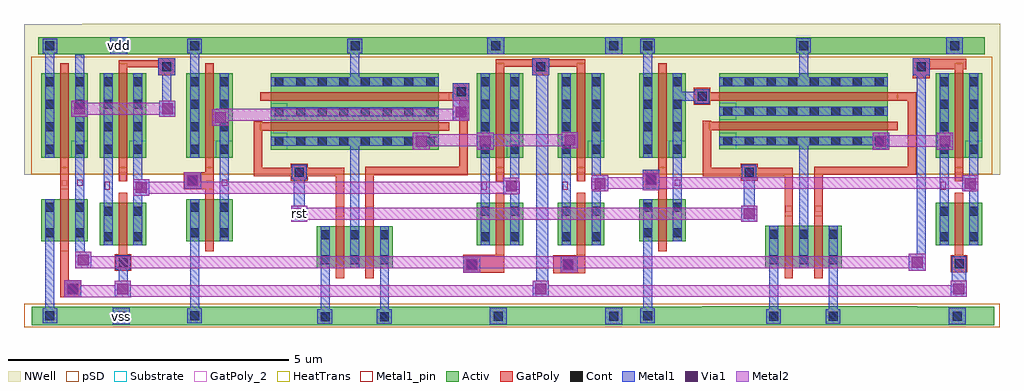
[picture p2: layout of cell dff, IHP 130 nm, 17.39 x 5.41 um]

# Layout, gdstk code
from math import pi, radians
import gdstk
lib = gdstk.Library(unit=1e-6, precision=5e-09)
def R(c, l, rs):  # rectangles x0, y0, x1, y1
    for r in rs: c.add(gdstk.rectangle(r[:2], r[2:], *l))
def A(c, l, x, y, w, h, nx, ny, dx, dy):  # array of equal rectangles
    R(c, l, [(x+i*dx, y+j*dy, x+i*dx+w, y+j*dy+h) for i in range(nx) for j in range(ny)])
def P(c, l, *ps):  # polygons
    for p in ps: c.add(gdstk.Polygon(p, *l))
Activ = (1, 0)
GatPoly = (5, 0)
GatPoly_2 = (5, 2)
Cont = (6, 0)
Metal1 = (8, 0)
Metal1_pin = (8, 2)
Metal2 = (10, 0)
pSD = (14, 0)
Via1 = (19, 0)
NWell = (31, 0)
Substrate = (40, 0)
HeatTrans = (51, 0)

nmos_5_2 = lib.new_cell('nmos$5$2')
R(nmos_5_2, Activ, [(0,0,0.3,0.3), (0,0,0.83,0.75), (0.53,0,0.83,0.3)])
R(nmos_5_2, GatPoly, [(0.34,-0.18,0.49,0.93)])
R(nmos_5_2, GatPoly_2, [(0.34,-0.18,0.49,0.93)])
R(nmos_5_2, Cont, [(0.07,0.07,0.23,0.23), (0.6,0.07,0.76,0.23), (0.07,0.52,0.23,0.68), (0.6,0.52,0.76,0.68)])
R(nmos_5_2, Metal1, [(0.07,0,0.23,0.75), (0.6,0,0.76,0.75)])
R(nmos_5_2, Metal1_pin, [(0.07,0,0.23,0.75), (0.6,0,0.76,0.75)])
R(nmos_5_2, HeatTrans, [(0.34,-0.18,0.49,0.93)])
nmos_5_2.add(gdstk.Label('nmos', (0.415,0.375), layer=63, texttype=0))
nmos_5_2.add(gdstk.Label('nmos', (0.415,0.375), layer=51, texttype=0))

pmos_5_1 = lib.new_cell('pmos$5$1')
R(pmos_5_1, Activ, [(0,0,0.3,0.3), (0,0,0.83,3), (0.53,0,0.83,0.3)])
R(pmos_5_1, GatPoly, [(0.34,-0.18,0.49,3.18), (0.34,-0.18,0.49,3.18)])
A(pmos_5_1, Cont, 0.07, 0.07, 0.16, 0.16, 1, 7, 0, 0.385)
A(pmos_5_1, Cont, 0.6, 0.07, 0.16, 0.16, 1, 7, 0, 0.385)
R(pmos_5_1, Cont, [(0.07,2.77,0.23,2.93), (0.6,2.77,0.76,2.93)])
R(pmos_5_1, Metal1, [(0.07,0,0.23,3), (0.07,0,0.23,3), (0.6,0,0.76,3), (0.6,0,0.76,3)])
R(pmos_5_1, pSD, [(-0.18,-0.3,1.01,3.3)])
R(pmos_5_1, NWell, [(-0.31,-0.31,1.14,3.31)])
R(pmos_5_1, Substrate, [(0.53,0,0.83,0.3)])
R(pmos_5_1, HeatTrans, [(0.34,-0.18,0.49,3.18)])
pmos_5_1.add(gdstk.Label('pmos', (0.415,1.5), layer=63, texttype=0))
pmos_5_1.add(gdstk.Label('pmos', (0.415,1.5), layer=51, texttype=0))

norgate_1 = lib.new_cell('norgate$1')
R(norgate_1, Activ, [(-1.48,-2.5,2.355,-2.17), (-1.47,2.325,2.355,2.625)])
R(norgate_1, GatPoly, [(-0.01,-0.56,0.14,0.15), (0.52,-0.56,0.67,0.17), (-1.47,0.15,0.14,0.3), (0.52,0.17,2.19,0.32), (2.19,0.17,2.34,1.645), (-1.47,0.3,-1.32,1.135), (-1.47,0.965,-1.35,1.135), (2.01,1.495,2.19,1.645)])
R(norgate_1, GatPoly_2, [(0.005,-0.49,0.13,-0.38), (0.535,-0.49,0.66,-0.38)])
R(norgate_1, Cont, [(-0.28,-2.43,-0.12,-2.27), (-0.28,-2.43,-0.12,-2.27), (0.78,-2.43,0.94,-2.27), (0.78,-2.43,0.94,-2.27), (0.255,2.395,0.415,2.555)])
R(norgate_1, Metal1, [(-0.335,-2.48,-0.075,-2.22), (0.725,-2.48,0.985,-2.22), (-0.28,-2.43,-0.12,-0.74), (0.78,-2.43,0.94,-0.74), (0.25,-0.74,0.41,0.695), (0.25,1.915,0.41,2.345), (0.2,2.345,0.46,2.605)])
R(norgate_1, Metal1_pin, [(-0.25,-2.39,-0.17,-2.3), (0.81,-2.39,0.89,-2.3), (0.255,2.395,0.415,2.555)])
R(norgate_1, pSD, [(-1.48,-2.54,2.355,-2.125)])
R(norgate_1, NWell, [(-1.47,0.315,2.355,2.865), (-1.47,2.295,2.355,2.865)])
norgate_1.add(gdstk.Reference(nmos_5_2, (1.01,-0.74), rotation=pi))
norgate_1.add(gdstk.Reference(nmos_5_2, (-0.35,-1.49)))
norgate_1.add(gdstk.Reference(pmos_5_1, (-1.17,1.985), rotation=3*pi/2))
norgate_1.add(gdstk.Reference(pmos_5_1, (-1.17,1.455), rotation=3*pi/2))
norgate_1.add(gdstk.Label('vdd', (0.325,2.5), layer=8, texttype=2))
norgate_1.add(gdstk.Label('vss', (-0.22,-2.335), layer=8, texttype=2))
norgate_1.add(gdstk.Label('vss', (0.84,-2.335), layer=8, texttype=2))
norgate_1.add(gdstk.Label('b', (0.07,-0.44), layer=5, texttype=2))
norgate_1.add(gdstk.Label('a', (0.6,-0.44), layer=5, texttype=2))

nmos_1_2 = lib.new_cell('nmos$1$2')
R(nmos_1_2, Activ, [(0,0,0.3,0.3), (0,0,0.83,0.75), (0.53,0,0.83,0.3)])
R(nmos_1_2, GatPoly, [(0.34,-0.18,0.49,0.93)])
R(nmos_1_2, GatPoly_2, [(0.34,-0.18,0.49,0.93)])
R(nmos_1_2, Cont, [(0.07,0.07,0.23,0.23), (0.6,0.07,0.76,0.23), (0.07,0.52,0.23,0.68), (0.6,0.52,0.76,0.68)])
R(nmos_1_2, Metal1, [(0.07,0,0.23,0.75), (0.6,0,0.76,0.75)])
R(nmos_1_2, Metal1_pin, [(0.07,0,0.23,0.75), (0.6,0,0.76,0.75)])
R(nmos_1_2, HeatTrans, [(0.34,-0.18,0.49,0.93)])
nmos_1_2.add(gdstk.Label('nmos', (0.415,0.375), layer=63, texttype=0))
nmos_1_2.add(gdstk.Label('nmos', (0.415,0.375), layer=51, texttype=0))

pmos_2 = lib.new_cell('pmos$2')
R(pmos_2, Activ, [(0,0,0.3,0.3), (0,0,0.83,1.5), (0.53,0,0.83,0.3)])
R(pmos_2, GatPoly, [(0.34,-0.18,0.49,1.68), (0.34,-0.18,0.49,1.68)])
A(pmos_2, Cont, 0.07, 0.07, 0.16, 0.16, 1, 4, 0, 0.4)
A(pmos_2, Cont, 0.6, 0.07, 0.16, 0.16, 1, 4, 0, 0.4)
R(pmos_2, Metal1, [(0.07,0,0.23,1.5), (0.07,0,0.23,1.5), (0.6,0,0.76,1.5), (0.6,0,0.76,1.5)])
R(pmos_2, pSD, [(-0.18,-0.3,1.01,1.8)])
R(pmos_2, NWell, [(-0.31,-0.31,1.14,1.81)])
R(pmos_2, Substrate, [(0.53,0,0.83,0.3)])
R(pmos_2, HeatTrans, [(0.34,-0.18,0.49,1.68)])
pmos_2.add(gdstk.Label('pmos', (0.415,0.75), layer=63, texttype=0))
pmos_2.add(gdstk.Label('pmos', (0.415,0.75), layer=51, texttype=0))

inverter_1 = lib.new_cell('inverter$1')
R(inverter_1, Activ, [(-0.925,-2.62,0.525,-2.29), (-0.925,2.205,0.525,2.505)])
R(inverter_1, GatPoly, [(-0.275,-0.195,-0.125,0.185)])
R(inverter_1, GatPoly_2, [(-0.25,-0.14,-0.155,-0.04)])
R(inverter_1, Cont, [(-0.545,-2.535,-0.385,-2.375), (-0.545,-2.535,-0.385,-2.375), (-0.545,2.275,-0.385,2.435)])
R(inverter_1, Metal1, [(-0.595,-2.585,-0.335,-2.325), (-0.545,-2.325,-0.385,-0.845), (-0.015,-0.375,0.145,0.365), (-0.545,1.865,-0.385,2.275), (-0.595,2.225,-0.335,2.485)])
R(inverter_1, Metal1_pin, [(0.02,-0.135,0.12,-0.03)])
R(inverter_1, pSD, [(-0.925,-2.66,0.525,-2.245)])
R(inverter_1, NWell, [(-0.925,2.175,0.525,2.745)])
inverter_1.add(gdstk.Reference(nmos_1_2, (-0.615,-1.125)))
inverter_1.add(gdstk.Reference(pmos_2, (-0.615,0.365)))
inverter_1.add(gdstk.Label('vss', (-0.475,-2.43), layer=8, texttype=2))
inverter_1.add(gdstk.Label('vdd', (-0.465,2.355), layer=8, texttype=2))
inverter_1.add(gdstk.Label('out', (0.06,-0.09), layer=8, texttype=2))
inverter_1.add(gdstk.Label('in', (-0.205,-0.09), layer=5, texttype=2))

nmos_5_3 = lib.new_cell('nmos$5$3')
R(nmos_5_3, Activ, [(0,0,0.3,0.3), (0,0,0.83,0.75), (0.53,0,0.83,0.3)])
R(nmos_5_3, GatPoly, [(0.34,-0.18,0.49,0.93)])
R(nmos_5_3, GatPoly_2, [(0.34,-0.18,0.49,0.93)])
R(nmos_5_3, Cont, [(0.07,0.07,0.23,0.23), (0.6,0.07,0.76,0.23), (0.07,0.52,0.23,0.68), (0.6,0.52,0.76,0.68)])
R(nmos_5_3, Metal1, [(0.07,0,0.23,0.75), (0.6,0,0.76,0.75)])
R(nmos_5_3, Metal1_pin, [(0.07,0,0.23,0.75), (0.6,0,0.76,0.75)])
R(nmos_5_3, HeatTrans, [(0.34,-0.18,0.49,0.93)])
nmos_5_3.add(gdstk.Label('nmos', (0.415,0.375), layer=63, texttype=0))
nmos_5_3.add(gdstk.Label('nmos', (0.415,0.375), layer=51, texttype=0))

pmos_3 = lib.new_cell('pmos$3')
R(pmos_3, Activ, [(0,0,0.3,0.3), (0,0,0.83,1.5), (0.53,0,0.83,0.3)])
R(pmos_3, GatPoly, [(0.34,-0.18,0.49,1.68), (0.34,-0.18,0.49,1.68)])
A(pmos_3, Cont, 0.07, 0.07, 0.16, 0.16, 1, 4, 0, 0.4)
A(pmos_3, Cont, 0.6, 0.07, 0.16, 0.16, 1, 4, 0, 0.4)
R(pmos_3, Metal1, [(0.07,0,0.23,1.5), (0.07,0,0.23,1.5), (0.6,0,0.76,1.5), (0.6,0,0.76,1.5)])
R(pmos_3, pSD, [(-0.18,-0.3,1.01,1.8)])
R(pmos_3, NWell, [(-0.31,-0.31,1.14,1.81)])
R(pmos_3, Substrate, [(0.53,0,0.83,0.3)])
R(pmos_3, HeatTrans, [(0.34,-0.18,0.49,1.68)])
pmos_3.add(gdstk.Label('pmos', (0.415,0.75), layer=63, texttype=0))
pmos_3.add(gdstk.Label('pmos', (0.415,0.75), layer=51, texttype=0))

transmissiongate_1 = lib.new_cell('transmissiongate$1')
R(transmissiongate_1, Activ, [(2.295,-2.62,3.745,-2.29), (2.315,2.205,3.745,2.505)])
R(transmissiongate_1, GatPoly, [(2.945,-0.055,3.095,0.185)])
R(transmissiongate_1, GatPoly_2, [(2.98,-0.43,3.09,-0.27), (2.96,-0.055,3.08,0.105)])
R(transmissiongate_1, Cont, [(2.91,-2.54,3.07,-2.38), (2.86,2.275,3.02,2.435)])
R(transmissiongate_1, Metal1, [(2.91,-2.54,3.07,-2.38), (2.91,-2.54,3.07,-2.38), (2.675,-0.445,2.835,-0.21), (3.205,-0.445,3.365,-0.21), (2.675,-0.21,2.835,0.365), (3.205,-0.21,3.365,0.365), (2.86,2.275,3.02,2.435)])
R(transmissiongate_1, Metal1_pin, [(2.91,-2.54,3.07,-2.38), (2.69,-0.21,2.785,-0.07), (3.205,-0.21,3.365,-0.07), (2.86,2.275,3.02,2.435)])
R(transmissiongate_1, pSD, [(2.295,-2.66,3.745,-2.245)])
R(transmissiongate_1, NWell, [(2.295,2.175,3.745,2.745)])
transmissiongate_1.add(gdstk.Reference(nmos_5_3, (2.605,-1.195)))
transmissiongate_1.add(gdstk.Reference(pmos_3, (2.605,0.365)))
transmissiongate_1.add(gdstk.Label('vdd', (2.93,2.38), layer=8, texttype=2))
transmissiongate_1.add(gdstk.Label('vss', (2.985,-2.46), layer=8, texttype=2))
transmissiongate_1.add(gdstk.Label('out', (3.285,-0.14), layer=8, texttype=2))
transmissiongate_1.add(gdstk.Label('in', (2.73,-0.14), layer=8, texttype=2))
transmissiongate_1.add(gdstk.Label('en', (3.015,-0.355), layer=5, texttype=2))
transmissiongate_1.add(gdstk.Label('noten', (3.025,0.02), layer=5, texttype=2))

nmos_5 = lib.new_cell('nmos$5')
R(nmos_5, Activ, [(0,0,0.3,0.3), (0,0,0.83,0.75), (0.53,0,0.83,0.3)])
R(nmos_5, GatPoly, [(0.34,-0.18,0.49,0.93)])
R(nmos_5, GatPoly_2, [(0.34,-0.18,0.49,0.93)])
R(nmos_5, Cont, [(0.07,0.07,0.23,0.23), (0.6,0.07,0.76,0.23), (0.07,0.52,0.23,0.68), (0.6,0.52,0.76,0.68)])
R(nmos_5, Metal1, [(0.07,0,0.23,0.75), (0.6,0,0.76,0.75)])
R(nmos_5, Metal1_pin, [(0.07,0,0.23,0.75), (0.6,0,0.76,0.75)])
R(nmos_5, HeatTrans, [(0.34,-0.18,0.49,0.93)])
nmos_5.add(gdstk.Label('nmos', (0.415,0.375), layer=63, texttype=0))
nmos_5.add(gdstk.Label('nmos', (0.415,0.375), layer=51, texttype=0))

pmos_9 = lib.new_cell('pmos$9')
R(pmos_9, Activ, [(0,0,0.3,0.3), (0,0,0.83,1.5), (0.53,0,0.83,0.3)])
R(pmos_9, GatPoly, [(0.34,-0.18,0.49,1.68), (0.34,-0.18,0.49,1.68)])
A(pmos_9, Cont, 0.07, 0.07, 0.16, 0.16, 1, 4, 0, 0.4)
A(pmos_9, Cont, 0.6, 0.07, 0.16, 0.16, 1, 4, 0, 0.4)
R(pmos_9, Metal1, [(0.07,0,0.23,1.5), (0.07,0,0.23,1.5), (0.6,0,0.76,1.5), (0.6,0,0.76,1.5)])
R(pmos_9, pSD, [(-0.18,-0.3,1.01,1.8)])
R(pmos_9, NWell, [(-0.31,-0.31,1.14,1.81)])
R(pmos_9, Substrate, [(0.53,0,0.83,0.3)])
R(pmos_9, HeatTrans, [(0.34,-0.18,0.49,1.68)])
pmos_9.add(gdstk.Label('pmos', (0.415,0.75), layer=63, texttype=0))
pmos_9.add(gdstk.Label('pmos', (0.415,0.75), layer=51, texttype=0))

transmissiongate = lib.new_cell('transmissiongate')
R(transmissiongate, Activ, [(2.295,-2.62,3.745,-2.29), (2.315,2.205,3.745,2.505)])
R(transmissiongate, GatPoly, [(2.945,-0.055,3.095,0.185)])
R(transmissiongate, GatPoly_2, [(2.98,-0.43,3.09,-0.27), (2.96,-0.055,3.08,0.105)])
R(transmissiongate, Cont, [(3.52,-2.54,3.68,-2.38), (3.52,2.275,3.68,2.435)])
R(transmissiongate, Metal1, [(3.52,-2.54,3.68,-2.38), (3.52,-2.54,3.68,-2.38), (2.675,-0.445,2.835,-0.21), (3.205,-0.445,3.365,-0.21), (2.675,-0.21,2.835,0.365), (3.205,-0.21,3.365,0.365), (3.52,2.275,3.68,2.435)])
R(transmissiongate, Metal1_pin, [(3.52,-2.54,3.68,-2.38), (2.69,-0.21,2.785,-0.07), (3.205,-0.21,3.365,-0.07), (3.52,2.275,3.68,2.435)])
R(transmissiongate, pSD, [(2.295,-2.66,3.745,-2.245)])
R(transmissiongate, NWell, [(2.295,2.175,3.745,2.745)])
transmissiongate.add(gdstk.Reference(nmos_5, (2.605,-1.195)))
transmissiongate.add(gdstk.Reference(pmos_9, (2.605,0.365)))
transmissiongate.add(gdstk.Label('vdd', (3.59,2.38), layer=8, texttype=2))
transmissiongate.add(gdstk.Label('vss', (3.595,-2.46), layer=8, texttype=2))
transmissiongate.add(gdstk.Label('out', (3.285,-0.14), layer=8, texttype=2))
transmissiongate.add(gdstk.Label('in', (2.73,-0.14), layer=8, texttype=2))
transmissiongate.add(gdstk.Label('en', (3.015,-0.355), layer=5, texttype=2))
transmissiongate.add(gdstk.Label('noten', (3.025,0.02), layer=5, texttype=2))

nmos_5_4 = lib.new_cell('nmos$5$4')
R(nmos_5_4, Activ, [(0,0,0.3,0.3), (0,0,0.83,0.75), (0.53,0,0.83,0.3)])
R(nmos_5_4, GatPoly, [(0.34,-0.18,0.49,0.93)])
R(nmos_5_4, GatPoly_2, [(0.34,-0.18,0.49,0.93)])
R(nmos_5_4, Cont, [(0.07,0.07,0.23,0.23), (0.6,0.07,0.76,0.23), (0.07,0.52,0.23,0.68), (0.6,0.52,0.76,0.68)])
R(nmos_5_4, Metal1, [(0.07,0,0.23,0.75), (0.6,0,0.76,0.75)])
R(nmos_5_4, Metal1_pin, [(0.07,0,0.23,0.75), (0.6,0,0.76,0.75)])
R(nmos_5_4, HeatTrans, [(0.34,-0.18,0.49,0.93)])
nmos_5_4.add(gdstk.Label('nmos', (0.415,0.375), layer=63, texttype=0))
nmos_5_4.add(gdstk.Label('nmos', (0.415,0.375), layer=51, texttype=0))

pmos_4_2 = lib.new_cell('pmos$4$2')
R(pmos_4_2, Activ, [(0,0,0.3,0.3), (0,0,0.83,1.5), (0.53,0,0.83,0.3)])
R(pmos_4_2, GatPoly, [(0.34,-0.18,0.49,1.68), (0.34,-0.18,0.49,1.68)])
A(pmos_4_2, Cont, 0.07, 0.07, 0.16, 0.16, 1, 4, 0, 0.4)
A(pmos_4_2, Cont, 0.6, 0.07, 0.16, 0.16, 1, 4, 0, 0.4)
R(pmos_4_2, Metal1, [(0.07,0,0.23,1.5), (0.07,0,0.23,1.5), (0.6,0,0.76,1.5), (0.6,0,0.76,1.5)])
R(pmos_4_2, pSD, [(-0.18,-0.3,1.01,1.8)])
R(pmos_4_2, NWell, [(-0.31,-0.31,1.14,1.81)])
R(pmos_4_2, Substrate, [(0.53,0,0.83,0.3)])
R(pmos_4_2, HeatTrans, [(0.34,-0.18,0.49,1.68)])
pmos_4_2.add(gdstk.Label('pmos', (0.415,0.75), layer=63, texttype=0))
pmos_4_2.add(gdstk.Label('pmos', (0.415,0.75), layer=51, texttype=0))

transmissiongate_2 = lib.new_cell('transmissiongate$2')
R(transmissiongate_2, Activ, [(2.295,-2.62,3.745,-2.29), (2.315,2.205,3.745,2.505)])
R(transmissiongate_2, GatPoly, [(2.945,-0.055,3.095,0.185)])
R(transmissiongate_2, GatPoly_2, [(2.98,-0.43,3.09,-0.27), (2.96,-0.055,3.08,0.105)])
R(transmissiongate_2, Cont, [(2.91,-2.54,3.07,-2.38), (2.86,2.275,3.02,2.435)])
R(transmissiongate_2, Metal1, [(2.91,-2.54,3.07,-2.38), (2.91,-2.54,3.07,-2.38), (2.675,-0.445,2.835,-0.21), (3.205,-0.445,3.365,-0.21), (2.675,-0.21,2.835,0.365), (3.205,-0.21,3.365,0.365), (2.86,2.275,3.02,2.435)])
R(transmissiongate_2, Metal1_pin, [(2.91,-2.54,3.07,-2.38), (2.69,-0.21,2.785,-0.07), (3.205,-0.21,3.365,-0.07), (2.86,2.275,3.02,2.435)])
R(transmissiongate_2, pSD, [(2.295,-2.66,3.745,-2.245)])
R(transmissiongate_2, NWell, [(2.295,2.175,3.745,2.745)])
transmissiongate_2.add(gdstk.Reference(nmos_5_4, (2.605,-1.195)))
transmissiongate_2.add(gdstk.Reference(pmos_4_2, (2.605,0.365)))
transmissiongate_2.add(gdstk.Label('vdd', (2.93,2.38), layer=8, texttype=2))
transmissiongate_2.add(gdstk.Label('vss', (2.985,-2.46), layer=8, texttype=2))
transmissiongate_2.add(gdstk.Label('out', (3.285,-0.14), layer=8, texttype=2))
transmissiongate_2.add(gdstk.Label('in', (2.73,-0.14), layer=8, texttype=2))
transmissiongate_2.add(gdstk.Label('en', (3.015,-0.355), layer=5, texttype=2))
transmissiongate_2.add(gdstk.Label('noten', (3.025,0.02), layer=5, texttype=2))

nmos_5_5 = lib.new_cell('nmos$5$5')
R(nmos_5_5, Activ, [(0,0,0.3,0.3), (0,0,0.83,0.75), (0.53,0,0.83,0.3)])
R(nmos_5_5, GatPoly, [(0.34,-0.18,0.49,0.93)])
R(nmos_5_5, GatPoly_2, [(0.34,-0.18,0.49,0.93)])
R(nmos_5_5, Cont, [(0.07,0.07,0.23,0.23), (0.6,0.07,0.76,0.23), (0.07,0.52,0.23,0.68), (0.6,0.52,0.76,0.68)])
R(nmos_5_5, Metal1, [(0.07,0,0.23,0.75), (0.6,0,0.76,0.75)])
R(nmos_5_5, Metal1_pin, [(0.07,0,0.23,0.75), (0.6,0,0.76,0.75)])
R(nmos_5_5, HeatTrans, [(0.34,-0.18,0.49,0.93)])
nmos_5_5.add(gdstk.Label('nmos', (0.415,0.375), layer=63, texttype=0))
nmos_5_5.add(gdstk.Label('nmos', (0.415,0.375), layer=51, texttype=0))

pmos_5 = lib.new_cell('pmos$5')
R(pmos_5, Activ, [(0,0,0.3,0.3), (0,0,0.83,1.5), (0.53,0,0.83,0.3)])
R(pmos_5, GatPoly, [(0.34,-0.18,0.49,1.68), (0.34,-0.18,0.49,1.68)])
A(pmos_5, Cont, 0.07, 0.07, 0.16, 0.16, 1, 4, 0, 0.4)
A(pmos_5, Cont, 0.6, 0.07, 0.16, 0.16, 1, 4, 0, 0.4)
R(pmos_5, Metal1, [(0.07,0,0.23,1.5), (0.07,0,0.23,1.5), (0.6,0,0.76,1.5), (0.6,0,0.76,1.5)])
R(pmos_5, pSD, [(-0.18,-0.3,1.01,1.8)])
R(pmos_5, NWell, [(-0.31,-0.31,1.14,1.81)])
R(pmos_5, Substrate, [(0.53,0,0.83,0.3)])
R(pmos_5, HeatTrans, [(0.34,-0.18,0.49,1.68)])
pmos_5.add(gdstk.Label('pmos', (0.415,0.75), layer=63, texttype=0))
pmos_5.add(gdstk.Label('pmos', (0.415,0.75), layer=51, texttype=0))

transmissiongate_3 = lib.new_cell('transmissiongate$3')
R(transmissiongate_3, Activ, [(2.4,-2.62,3.65,-2.29), (2.565,2.205,3.48,2.505)])
R(transmissiongate_3, GatPoly, [(2.945,-0.055,3.095,0.185)])
R(transmissiongate_3, GatPoly_2, [(2.98,-0.43,3.09,-0.27), (2.96,-0.055,3.08,0.105)])
R(transmissiongate_3, Cont, [(2.91,-2.54,3.07,-2.38), (2.86,2.275,3.02,2.435)])
R(transmissiongate_3, Metal1, [(2.91,-2.54,3.07,-2.38), (2.91,-2.54,3.07,-2.38), (2.675,-0.445,2.835,-0.21), (3.205,-0.445,3.365,-0.21), (2.675,-0.21,2.835,0.365), (3.205,-0.21,3.365,0.365), (2.86,2.275,3.02,2.435)])
R(transmissiongate_3, Metal1_pin, [(2.91,-2.54,3.07,-2.38), (2.69,-0.21,2.785,-0.07), (3.205,-0.21,3.365,-0.07), (2.86,2.275,3.02,2.435)])
R(transmissiongate_3, pSD, [(2.295,-2.66,3.745,-2.245)])
R(transmissiongate_3, NWell, [(2.295,2.175,3.745,2.745)])
transmissiongate_3.add(gdstk.Reference(nmos_5_5, (2.605,-1.195)))
transmissiongate_3.add(gdstk.Reference(pmos_5, (2.605,0.365)))
transmissiongate_3.add(gdstk.Label('vdd', (2.93,2.38), layer=8, texttype=2))
transmissiongate_3.add(gdstk.Label('vss', (2.985,-2.46), layer=8, texttype=2))
transmissiongate_3.add(gdstk.Label('out', (3.285,-0.14), layer=8, texttype=2))
transmissiongate_3.add(gdstk.Label('in', (2.73,-0.14), layer=8, texttype=2))
transmissiongate_3.add(gdstk.Label('en', (3.015,-0.355), layer=5, texttype=2))
transmissiongate_3.add(gdstk.Label('noten', (3.025,0.02), layer=5, texttype=2))

nmos_6 = lib.new_cell('nmos$6')
R(nmos_6, Activ, [(0,0,0.3,0.3), (0,0,0.83,0.75), (0.53,0,0.83,0.3)])
R(nmos_6, GatPoly, [(0.34,-0.18,0.49,0.93)])
R(nmos_6, GatPoly_2, [(0.34,-0.18,0.49,0.93)])
R(nmos_6, Cont, [(0.07,0.07,0.23,0.23), (0.6,0.07,0.76,0.23), (0.07,0.52,0.23,0.68), (0.6,0.52,0.76,0.68)])
R(nmos_6, Metal1, [(0.07,0,0.23,0.75), (0.6,0,0.76,0.75)])
R(nmos_6, Metal1_pin, [(0.07,0,0.23,0.75), (0.6,0,0.76,0.75)])
R(nmos_6, HeatTrans, [(0.34,-0.18,0.49,0.93)])
nmos_6.add(gdstk.Label('nmos', (0.415,0.375), layer=63, texttype=0))
nmos_6.add(gdstk.Label('nmos', (0.415,0.375), layer=51, texttype=0))

pmos_6 = lib.new_cell('pmos$6')
R(pmos_6, Activ, [(0,0,0.3,0.3), (0,0,0.83,1.5), (0.53,0,0.83,0.3)])
R(pmos_6, GatPoly, [(0.34,-0.18,0.49,1.68), (0.34,-0.18,0.49,1.68)])
A(pmos_6, Cont, 0.07, 0.07, 0.16, 0.16, 1, 4, 0, 0.4)
A(pmos_6, Cont, 0.6, 0.07, 0.16, 0.16, 1, 4, 0, 0.4)
R(pmos_6, Metal1, [(0.07,0,0.23,1.5), (0.07,0,0.23,1.5), (0.6,0,0.76,1.5), (0.6,0,0.76,1.5)])
R(pmos_6, pSD, [(-0.18,-0.3,1.01,1.8)])
R(pmos_6, NWell, [(-0.31,-0.31,1.14,1.81)])
R(pmos_6, Substrate, [(0.53,0,0.83,0.3)])
R(pmos_6, HeatTrans, [(0.34,-0.18,0.49,1.68)])
pmos_6.add(gdstk.Label('pmos', (0.415,0.75), layer=63, texttype=0))
pmos_6.add(gdstk.Label('pmos', (0.415,0.75), layer=51, texttype=0))

inverter_2 = lib.new_cell('inverter$2')
R(inverter_2, Activ, [(-0.79,-2.62,0.525,-2.29), (-0.675,2.205,0.525,2.505)])
R(inverter_2, GatPoly, [(-0.275,-0.195,-0.125,0.185)])
R(inverter_2, GatPoly_2, [(-0.25,-0.14,-0.155,-0.04)])
R(inverter_2, Cont, [(-0.545,-2.535,-0.385,-2.375), (-0.545,-2.535,-0.385,-2.375), (-0.545,2.275,-0.385,2.435)])
R(inverter_2, Metal1, [(-0.595,-2.585,-0.335,-2.325), (-0.545,-2.325,-0.385,-0.845), (-0.015,-0.375,0.145,0.365), (-0.545,1.865,-0.385,2.275), (-0.595,2.225,-0.335,2.485)])
R(inverter_2, Metal1_pin, [(0.02,-0.135,0.12,-0.03)])
R(inverter_2, pSD, [(-0.925,-2.66,0.525,-2.245)])
R(inverter_2, NWell, [(-0.925,2.175,0.525,2.745)])
inverter_2.add(gdstk.Reference(nmos_6, (-0.615,-1.125)))
inverter_2.add(gdstk.Reference(pmos_6, (-0.615,0.365)))
inverter_2.add(gdstk.Label('vss', (-0.475,-2.43), layer=8, texttype=2))
inverter_2.add(gdstk.Label('vdd', (-0.465,2.355), layer=8, texttype=2))
inverter_2.add(gdstk.Label('out', (0.06,-0.09), layer=8, texttype=2))
inverter_2.add(gdstk.Label('in', (-0.205,-0.09), layer=5, texttype=2))

dff = lib.new_cell('dff')
R(dff, Activ, [(1.87,-2.62,19.005,-2.29), (2.055,2.205,18.835,2.505)])
R(dff, GatPoly, [(2.36,-2.125,2.51,-1.305), (2.43,-2.125,2.73,-1.825), (2.51,-2.125,2.73,-1.825), (11.14,-1.7,11.715,-1.375), (9.54,-1.69,10.27,-1.365), (18.225,-1.675,18.525,-1.375), (3.325,-1.655,3.625,-1.355), (4.555,-0.2,4.94,0.105), (12.735,-0.195,13.015,0.145), (6.465,-0.045,6.765,0.255), (14.485,-0.045,14.785,0.255), (13.645,1.305,13.945,1.605), (9.35,1.38,9.65,1.69), (13.685,1.38,13.925,1.53), (17.55,1.78,17.85,2.135), (4.105,1.835,4.405,2.135), (10.77,1.835,11.07,2.135), (17.65,1.935,18.275,2.125), (18.275,1.935,18.5,2.125), (3.4,1.97,4.14,2.1), (10.12,1.985,10.77,2.115), (11.07,1.985,11.715,2.115)])
P(dff, GatPoly, [(10.2,-1.62),(10.2,-1.41),(10.2,-1.41),(10.2,-1.62)])
R(dff, Cont, [(3.365,-2.54,3.525,-2.38), (3.365,-2.54,3.525,-2.38), (3.365,-2.54,3.525,-2.38), (3.365,-2.54,3.525,-2.38), (2.5,-2.055,2.66,-1.895), (9.61,-1.62,9.77,-1.46), (11.325,-1.62,11.485,-1.46), (18.295,-1.605,18.455,-1.445), (3.395,-1.585,3.555,-1.425), (4.635,-0.125,4.795,0.035), (12.805,-0.105,12.965,0.055), (6.535,0.025,6.695,0.185), (14.555,0.025,14.715,0.185), (13.715,1.375,13.875,1.535), (9.42,1.455,9.58,1.615), (17.62,1.9,17.78,2.06), (4.175,1.905,4.335,2.065), (10.84,1.905,11,2.065)])
R(dff, Metal1, [(3.295,-2.61,3.595,-2.31), (10.015,-2.61,10.315,-2.31), (12.07,-2.61,12.37,-2.31), (18.195,-2.61,18.495,-2.31), (3.365,-2.54,3.525,-2.38), (3.365,-2.54,3.525,-2.38), (3.365,-2.54,3.525,-2.38), (3.365,-2.54,3.525,-2.38), (3.365,-2.54,3.525,-2.38), (3.365,-2.54,3.525,-2.38), (3.365,-2.54,3.525,-2.38), (3.365,-2.54,3.525,-2.38), (2.43,-2.125,2.73,-1.825), (3.325,-2.125,3.615,-1.835), (10.775,-2.12,11.065,-1.83), (10.84,-2.12,11.055,1.835), (18.225,-2.12,18.515,-1.83), (3.395,-1.835,3.555,-1.405), (18.245,-1.83,18.505,-1.395), (9.54,-1.69,9.84,-1.39), (11.275,-1.69,11.575,-1.39), (17.48,-1.65,17.78,-1.35), (3.345,-1.635,3.605,-1.375), (2.62,-1.605,2.91,-1.315), (2.62,-1.605,2.795,-1.125), (17.62,-1.35,17.78,1.9), (6.47,-0.78,6.76,-0.49), (14.49,-0.78,14.78,-0.49), (6.52,-0.49,6.71,-0.025), (14.54,-0.49,14.73,0.185), (3.655,-0.315,3.945,-0.025), (10.25,-0.285,10.54,0.005), (11.83,-0.24,12.12,0.05), (18.43,-0.24,18.72,0.05), (4.565,-0.195,4.865,0.105), (12.735,-0.195,13.035,0.145), (12.805,-0.105,12.965,0.055), (6.485,-0.025,6.745,0.235), (14.505,-0.025,14.765,0.235), (8.64,0.505,8.94,0.805), (9.78,0.505,10.08,0.805), (16.835,0.505,17.135,0.805), (17.975,0.505,18.275,0.805), (11.295,0.53,11.585,0.82), (5.06,0.93,5.36,1.23), (9.35,1.025,9.65,1.69), (2.555,1.09,2.845,1.38), (4.12,1.09,4.41,1.38), (13.665,1.325,13.925,1.585), (13.275,1.375,13.875,1.535), (4.175,1.38,4.335,1.835), (9.35,1.385,9.65,1.69), (4.105,1.835,4.405,2.135), (10.77,1.835,11.07,2.135), (17.55,1.835,17.85,2.135), (2.62,1.865,2.78,2.195), (17.62,1.9,17.78,2.06), (3.25,2.205,3.55,2.505), (9.965,2.205,10.265,2.505), (12.07,2.205,12.37,2.505), (18.145,2.205,18.445,2.505)])
R(dff, Metal1_pin, [(3.365,-2.54,3.525,-2.38), (3.365,-2.54,3.525,-2.38), (3.365,-2.54,3.525,-2.38), (3.365,-2.54,3.525,-2.38), (6.52,-0.73,6.71,-0.54), (3.315,2.275,3.475,2.435)])
R(dff, Metal2, [(2.43,-2.125,2.73,-1.825), (2.73,-2.125,3.325,-1.915), (3.325,-2.125,3.615,-1.835), (3.615,-2.12,18.225,-1.915), (10.775,-2.12,11.065,-1.83), (18.225,-2.12,18.515,-1.83), (9.54,-1.69,9.84,-1.39), (11.275,-1.69,11.575,-1.39), (17.48,-1.65,17.78,-1.35), (2.62,-1.605,2.91,-1.315), (2.62,-1.605,17.54,-1.395), (6.47,-0.78,6.76,-0.49), (14.49,-0.78,14.78,-0.49), (6.76,-0.74,14.49,-0.53), (3.655,-0.315,3.945,-0.025), (10.25,-0.285,10.54,0.005), (3.655,-0.28,10.545,-0.07), (11.83,-0.24,12.12,0.05), (18.43,-0.24,18.72,0.05), (12.735,-0.215,13.035,0.085), (11.82,-0.195,18.705,0.015), (4.57,-0.19,4.86,0.1), (8.64,0.505,8.94,0.805), (9.78,0.505,10.08,0.805), (16.835,0.505,17.135,0.805), (17.975,0.505,18.275,0.805), (11.295,0.53,11.585,0.82), (16.9,0.56,18.205,0.76), (8.685,0.57,11.295,0.78), (5.06,0.93,5.36,1.23), (5.13,1.025,9.35,1.235), (9.35,1.025,9.65,1.385), (2.555,1.09,2.845,1.38), (4.12,1.09,4.41,1.38), (2.845,1.13,4.12,1.34)])
R(dff, pSD, [(1.71,-2.66,19.1,-2.245), (2.88,0.065,18.97,2.165)])
R(dff, Via1, [(3.375,-2.075,3.565,-1.885), (2.485,-2.07,2.675,-1.88), (10.825,-2.07,11.015,-1.88), (18.275,-2.07,18.465,-1.88), (9.595,-1.635,9.785,-1.445), (11.31,-1.635,11.5,-1.445), (17.535,-1.595,17.725,-1.405), (2.67,-1.555,2.86,-1.365), (6.52,-0.73,6.71,-0.54), (14.54,-0.73,14.73,-0.54), (3.705,-0.265,3.895,-0.075), (10.305,-0.235,10.495,-0.045), (11.88,-0.19,12.07,0), (18.48,-0.19,18.67,0), (4.62,-0.14,4.81,0.05), (12.79,-0.12,12.98,0.07), (8.695,0.56,8.885,0.75), (9.835,0.56,10.025,0.75), (16.89,0.56,17.08,0.75), (18.03,0.56,18.22,0.75), (9.85,0.575,10.01,0.735), (11.345,0.58,11.535,0.77), (5.115,0.985,5.305,1.175), (9.405,1.08,9.595,1.27), (2.605,1.14,2.795,1.33), (4.17,1.14,4.36,1.33)])
R(dff, NWell, [(2.745,0.055,19.105,2.75), (2.745,2.205,19.105,2.745)])
dff.add(gdstk.Reference(norgate_1, (7.275,-0.12)))
dff.add(gdstk.Reference(norgate_1, (15.275,-0.115)))
dff.add(gdstk.Reference(inverter_1, (13.29,0)))
dff.add(gdstk.Reference(transmissiongate_1, (7.175,0)))
dff.add(gdstk.Reference(transmissiongate, (8.62,0)))
dff.add(gdstk.Reference(transmissiongate_2, (0.455,0)))
dff.add(gdstk.Reference(transmissiongate_3, (15.355,0)))
dff.add(gdstk.Reference(inverter_1, (5.215,0)))
dff.add(gdstk.Reference(inverter_2, (2.635,0)))
dff.add(gdstk.Label('rst', (6.615,-0.635), layer=8, texttype=2))
dff.add(gdstk.Label('vss', (3.44,-2.46), layer=8, texttype=2))
dff.add(gdstk.Label('vss', (3.44,-2.46), layer=8, texttype=2))
dff.add(gdstk.Label('vss', (3.44,-2.46), layer=8, texttype=2))
dff.add(gdstk.Label('vss', (3.44,-2.46), layer=8, texttype=2))
dff.add(gdstk.Label('vdd', (3.41,2.355), layer=8, texttype=2))

lib.write_gds('dff.gds')
